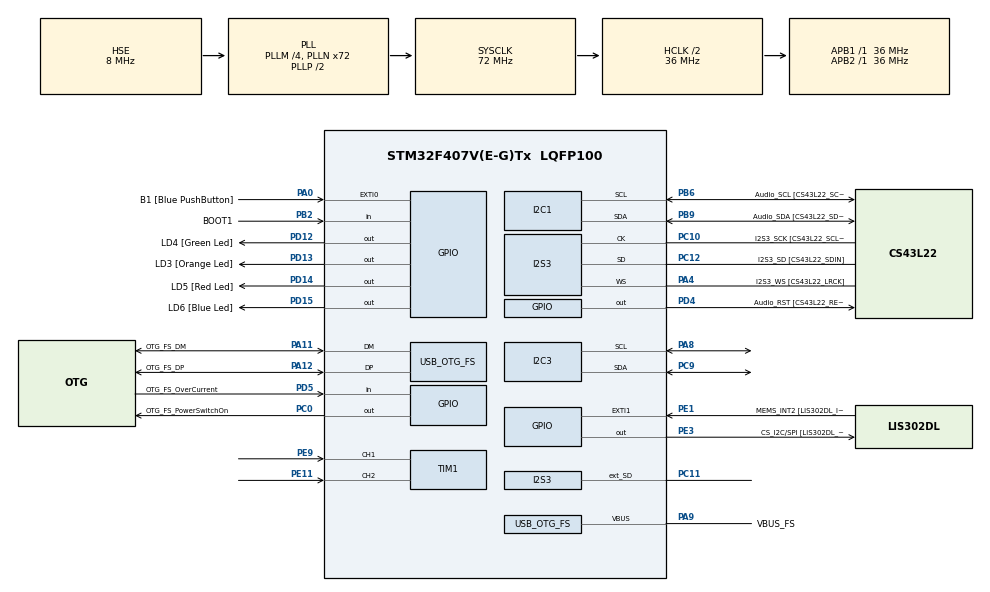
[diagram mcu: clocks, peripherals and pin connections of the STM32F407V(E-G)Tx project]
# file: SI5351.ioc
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I2S3.ErrorAudioFreq=0.15 %
I2S3.FullDuplexMode=I2S_FULLDUPLEXMODE_ENABLE
I2S3.Instance=SPI$Index
I2S3.RealAudioFreq=8.012 KHz
I2S3.VirtualMode=I2S_MODE_MASTER
Mcu.Family=STM32F4
Mcu.Name=STM32F407V(E-G)Tx
Mcu.Package=LQFP100
NVIC.PriorityGroup=NVIC_PRIORITYGROUP_0
PA0-WKUP.GPIO_Label=B1 [Blue PushButton]
PA0-WKUP.GPIO_ModeDefaultEXTI=GPIO_MODE_EVT_RISING
PA0-WKUP.GPIO_PuPd=GPIO_NOPULL
PA0-WKUP.Signal=GPXTI0
PA10.GPIO_Label=OTG_FS_ID
PA10.GPIO_Mode=GPIO_MODE_AF_PP
PA10.GPIO_PuPd=GPIO_NOPULL
PA10.GPIO_Speed=GPIO_SPEED_FREQ_LOW
PA10.Signal=USB_OTG_FS_ID
PA11.GPIO_Label=OTG_FS_DM
PA11.GPIO_Mode=GPIO_MODE_AF_PP
PA11.GPIO_PuPd=GPIO_NOPULL
PA11.GPIO_Speed=GPIO_SPEED_FREQ_LOW
PA11.Mode=Device_Only
PA11.Signal=USB_OTG_FS_DM
PA12.GPIO_Label=OTG_FS_DP
PA12.GPIO_Mode=GPIO_MODE_AF_PP
PA12.GPIO_PuPd=GPIO_NOPULL
PA12.GPIO_Speed=GPIO_SPEED_FREQ_LOW
PA12.Mode=Device_Only
PA12.Signal=USB_OTG_FS_DP
PA13.GPIO_Label=SWDIO
PA13.Signal=SYS_JTMS-SWDIO
PA14.GPIO_Label=SWCLK
PA14.Signal=SYS_JTCK-SWCLK
PA4.GPIO_Label=I2S3_WS [CS43L22_LRCK]
PA4.GPIO_Mode=GPIO_MODE_AF_PP
PA4.GPIO_PuPd=GPIO_NOPULL
PA4.GPIO_Speed=GPIO_SPEED_FREQ_LOW
PA4.Mode=Full_Duplex_Master
PA4.Signal=I2S3_WS
PA5.GPIO_Label=SPI1_SCK [LIS302DL_SCL/SPC]
PA5.GPIO_Mode=GPIO_MODE_AF_PP
PA5.GPIO_PuPd=GPIO_NOPULL
PA5.GPIO_Speed=GPIO_SPEED_FREQ_LOW
PA5.Signal=SPI1_SCK
PA6.GPIO_Label=SPI1_MISO [LIS302DL_SDO]
PA6.GPIO_Mode=GPIO_MODE_AF_PP
PA6.GPIO_PuPd=GPIO_NOPULL
PA6.GPIO_Speed=GPIO_SPEED_FREQ_LOW
PA6.Signal=SPI1_MISO
PA7.GPIO_Label=SPI1_MOSI [LIS302DL_SDA/SDI/SDO]
PA7.GPIO_Mode=GPIO_MODE_AF_PP
PA7.GPIO_PuPd=GPIO_NOPULL
PA7.GPIO_Speed=GPIO_SPEED_FREQ_LOW
PA7.Signal=SPI1_MOSI
PA8.Mode=I2C
PA8.Signal=I2C3_SCL
PA9.GPIO_Label=VBUS_FS
PA9.GPIO_Mode=GPIO_MODE_INPUT
PA9.GPIO_PuPd=GPIO_NOPULL
PA9.Mode=Activate_VBUS
PA9.Signal=USB_OTG_FS_VBUS
PB10.GPIO_Label=CLK_IN [MP45DT02_CLK]
PB10.GPIO_Mode=GPIO_MODE_AF_PP
PB10.GPIO_PuPd=GPIO_NOPULL
PB10.GPIO_Speed=GPIO_SPEED_FREQ_LOW
PB10.Signal=I2S2_CK
PB2.GPIO_Label=BOOT1
PB2.GPIO_Mode=GPIO_MODE_INPUT
PB2.GPIO_PuPd=GPIO_NOPULL
PB2.Signal=GPIO_Input
PB3.GPIO_Label=SWO
PB3.Signal=SYS_JTDO-SWO
PB6.GPIO_Label=Audio_SCL [CS43L22_SCL]
PB6.GPIO_Mode=GPIO_MODE_AF_OD
PB6.GPIO_Pu=GPIO_PULLUP
PB6.GPIO_PuPd=GPIO_NOPULL
PB6.GPIO_Speed=GPIO_SPEED_FREQ_LOW
PB6.Mode=I2C
PB6.Signal=I2C1_SCL
PB9.GPIO_Label=Audio_SDA [CS43L22_SDA]
PB9.GPIO_Mode=GPIO_MODE_AF_OD
PB9.GPIO_Pu=GPIO_PULLUP
PB9.GPIO_PuPd=GPIO_NOPULL
PB9.GPIO_Speed=GPIO_SPEED_FREQ_LOW
PB9.Mode=I2C
PB9.Signal=I2C1_SDA
PC0.GPIO_Label=OTG_FS_PowerSwitchOn
PC0.GPIO_PuPd=GPIO_NOPULL
PC0.GPIO_Speed=GPIO_SPEED_FREQ_LOW
PC0.PinState=GPIO_PIN_SET
PC0.Signal=GPIO_Output
PC10.GPIO_Label=I2S3_SCK [CS43L22_SCLK]
PC10.GPIO_Mode=GPIO_MODE_AF_PP
PC10.GPIO_PuPd=GPIO_NOPULL
PC10.GPIO_Speed=GPIO_SPEED_FREQ_LOW
PC10.Mode=Full_Duplex_Master
PC10.Signal=I2S3_CK
PC11.Mode=Full_Duplex_Master
PC11.Signal=I2S3_ext_SD
PC12.GPIO_Label=I2S3_SD [CS43L22_SDIN]
PC12.GPIO_Mode=GPIO_MODE_AF_PP
PC12.GPIO_PuPd=GPIO_NOPULL
PC12.GPIO_Speed=GPIO_SPEED_FREQ_LOW
PC12.Mode=Full_Duplex_Master
PC12.Signal=I2S3_SD
PC14-OSC32_IN.GPIO_Label=PC14-OSC32_IN
PC14-OSC32_IN.Signal=RCC_OSC32_IN
PC15-OSC32_OUT.GPIO_Label=PC15-OSC32_OUT
PC15-OSC32_OUT.Signal=RCC_OSC32_OUT
PC3.GPIO_Label=PDM_OUT [MP45DT02_DOUT]
PC3.GPIO_Mode=GPIO_MODE_AF_PP
PC3.GPIO_PuPd=GPIO_NOPULL
PC3.GPIO_Speed=GPIO_SPEED_FREQ_LOW
PC3.Signal=I2S2_SD
PC7.GPIO_Label=I2S3_MCK [CS43L22_MCLK]
PC7.GPIO_Mode=GPIO_MODE_AF_PP
PC7.GPIO_PuPd=GPIO_NOPULL
PC7.GPIO_Speed=GPIO_SPEED_FREQ_LOW
PC7.Signal=I2S3_MCK
PC9.Mode=I2C
PC9.Signal=I2C3_SDA
PD12.GPIO_Label=LD4 [Green Led]
PD12.GPIO_PuPd=GPIO_NOPULL
PD12.GPIO_Speed=GPIO_SPEED_FREQ_LOW
PD12.Signal=GPIO_Output
PD13.GPIO_Label=LD3 [Orange Led]
PD13.GPIO_PuPd=GPIO_NOPULL
PD13.GPIO_Speed=GPIO_SPEED_FREQ_LOW
PD13.Signal=GPIO_Output
PD14.GPIO_Label=LD5 [Red Led]
PD14.GPIO_PuPd=GPIO_NOPULL
PD14.GPIO_Speed=GPIO_SPEED_FREQ_LOW
PD14.Signal=GPIO_Output
PD15.GPIO_Label=LD6 [Blue Led]
PD15.GPIO_PuPd=GPIO_NOPULL
PD15.GPIO_Speed=GPIO_SPEED_FREQ_LOW
PD15.Signal=GPIO_Output
PD4.GPIO_Label=Audio_RST [CS43L22_RESET]
PD4.GPIO_PuPd=GPIO_NOPULL
PD4.GPIO_Speed=GPIO_SPEED_FREQ_LOW
PD4.Signal=GPIO_Output
PD5.GPIO_Label=OTG_FS_OverCurrent
PD5.GPIO_Mode=GPIO_MODE_INPUT
PD5.GPIO_PuPd=GPIO_NOPULL
PD5.Signal=GPIO_Input
PE1.GPIO_Label=MEMS_INT2 [LIS302DL_INT2]
PE1.GPIO_ModeDefaultEXTI=GPIO_MODE_EVT_RISING
PE1.GPIO_PuPd=GPIO_NOPULL
PE1.Signal=GPXTI1
PE11.GPIO_PuPd=GPIO_PULLUP
PE11.Signal=S_TIM1_CH2
PE3.GPIO_Label=CS_I2C/SPI [LIS302DL_CS_I2C/SPI]
PE3.GPIO_PuPd=GPIO_NOPULL
PE3.GPIO_Speed=GPIO_SPEED_FREQ_LOW
PE3.Signal=GPIO_Output
PE9.GPIO_PuPd=GPIO_PULLUP
PE9.Signal=S_TIM1_CH1
PH0-OSC_IN.GPIO_Label=PH0-OSC_IN
PH0-OSC_IN.Mode=HSE-External-Oscillator
PH0-OSC_IN.Signal=RCC_OSC_IN
PH1-OSC_OUT.GPIO_Label=PH1-OSC_OUT
PH1-OSC_OUT.Mode=HSE-External-Oscillator
PH1-OSC_OUT.Signal=RCC_OSC_OUT
ProjectManager.HeapSize=0x200
ProjectManager.StackSize=0x400
ProjectManager.TargetToolchain=STM32CubeIDE
RCC.48MHZClocksFreq_Value=48000000
RCC.AHBCLKDivider=RCC_SYSCLK_DIV2
RCC.AHBFreq_Value=36000000
RCC.APB1Freq_Value=36000000
RCC.APB1TimFreq_Value=36000000
RCC.APB2Freq_Value=36000000
RCC.APB2TimFreq_Value=36000000
RCC.CortexFreq_Value=36000000
RCC.HCLKFreq_Value=36000000
RCC.HSE_VALUE=8000000
RCC.HSI_VALUE=16000000
RCC.LSE_VALUE=32768
RCC.PLLI2SN=50
RCC.PLLM=4
RCC.PLLN=72
RCC.PLLQ=3
RCC.PLLSourceVirtual=RCC_PLLSOURCE_HSE
RCC.SYSCLKFreq_VALUE=72000000
RCC.SYSCLKSource=RCC_SYSCLKSOURCE_PLLCLK
RCC.VCOOutputFreq_Value=144000000
SH.S_TIM1_CH1.0=TIM1_CH1,Encoder_Interface
SH.S_TIM1_CH2.0=TIM1_CH2,Encoder_Interface
USB_OTG_FS.VirtualMode=Device_Only
board=STM32F407G-DISC1

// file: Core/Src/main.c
/* USER CODE BEGIN Header */
/**
 ******************************************************************************
 * @file           : main.c
 * @brief          : Main program body
 ******************************************************************************
 * @attention
 *
 * Copyright (c) 2022 STMicroelectronics.
 * All rights reserved.
 *
 * This software is licensed under terms that can be found in the LICENSE file
 * in the root directory of this software component.
 * If no LICENSE file comes with this software, it is provided AS-IS.
 *
 ******************************************************************************
 */
/* USER CODE END Header */
#include "main.h"

/* USER CODE BEGIN Includes */
#include "lcd.h"
#include "keypad.h"
#include <stdlib.h>
#include <stdio.h>

/* USER CODE END Includes */

I2C_HandleTypeDef hi2c1;
I2C_HandleTypeDef hi2c3;

I2S_HandleTypeDef hi2s3;

TIM_HandleTypeDef htim1;

PCD_HandleTypeDef hpcd_USB_OTG_FS;

void SystemClock_Config(void);
static void MX_GPIO_Init(void);
static void MX_I2C1_Init(void);
static void MX_I2S3_Init(void);
static void MX_I2C3_Init(void);
static void MX_TIM1_Init(void);
static void MX_USB_OTG_FS_PCD_Init(void);

int main(void) {

	/* MCU Configuration--------------------------------------------------------*/

	/* Reset of all peripherals, Initializes the Flash interface and the Systick. */
	HAL_Init();

	/* Configure the system clock */
	SystemClock_Config();

	/* Initialize all configured peripherals */
	MX_GPIO_Init();
	MX_I2C1_Init();
	MX_I2S3_Init();
	MX_I2C3_Init();
	MX_TIM1_Init();
	MX_USB_OTG_FS_PCD_Init();
	/* USER CODE BEGIN 2 */

	HAL_TIM_Encoder_Start(&htim1, TIM_CHANNEL_ALL);
	LCD_Init(LCD_ADDR);

	// set address to 0x00
	LCD_SendCommand(LCD_ADDR, 0b10000000);
	LCD_SendString(LCD_ADDR, " Using 1602 LCD");

	// set address to 0x40
	LCD_SendCommand(LCD_ADDR, 0b11000000);
	LCD_SendString(LCD_ADDR, "  over I2C bus");

	/* USER CODE END 2 */

	/* Infinite loop */
	/* USER CODE BEGIN WHILE */

	KEYPAD_setKeyMap( "123A456B789C*0#DNF");  // N = NoKey, F = Fail
	KEYPAD_Init();

	while (1) {
		int currCounter = __HAL_TIM_GET_COUNTER(&htim1);

		char buff[16];
		snprintf(buff, sizeof(buff), "%06d ", currCounter / 2);

		LCD_SetCursor(LCD_ADDR, 0, 0);
		LCD_SendString(LCD_ADDR, buff);

		snprintf(buff, sizeof(buff), "%c  %c  ", KEYPAD_getKeyChar(), KEYPAD_getLastKeyChar());

		LCD_SetCursor(LCD_ADDR, 0, 1);
		LCD_SendString(LCD_ADDR, buff);

		/* USER CODE END WHILE */

	}
}

void SystemClock_Config(void) {
	RCC_OscInitTypeDef RCC_OscInitStruct = { 0 };
	RCC_ClkInitTypeDef RCC_ClkInitStruct = { 0 };

	/** Configure the main internal regulator output voltage
	 */
	__HAL_RCC_PWR_CLK_ENABLE();
	__HAL_PWR_VOLTAGESCALING_CONFIG(PWR_REGULATOR_VOLTAGE_SCALE1);

	/** Initializes the RCC Oscillators according to the specified parameters
	 * in the RCC_OscInitTypeDef structure.
	 */
	RCC_OscInitStruct.OscillatorType = RCC_OSCILLATORTYPE_HSE;
	RCC_OscInitStruct.HSEState = RCC_HSE_ON;
	RCC_OscInitStruct.PLL.PLLState = RCC_PLL_ON;
	RCC_OscInitStruct.PLL.PLLSource = RCC_PLLSOURCE_HSE;
	RCC_OscInitStruct.PLL.PLLM = 4;
	RCC_OscInitStruct.PLL.PLLN = 72;
	RCC_OscInitStruct.PLL.PLLP = RCC_PLLP_DIV2;
	RCC_OscInitStruct.PLL.PLLQ = 3;
	if (HAL_RCC_OscConfig(&RCC_OscInitStruct) != HAL_OK) {
		Error_Handler();
	}

	/** Initializes the CPU, AHB and APB buses clocks
	 */
	RCC_ClkInitStruct.ClockType = RCC_CLOCKTYPE_HCLK | RCC_CLOCKTYPE_SYSCLK
			| RCC_CLOCKTYPE_PCLK1 | RCC_CLOCKTYPE_PCLK2;
	RCC_ClkInitStruct.SYSCLKSource = RCC_SYSCLKSOURCE_PLLCLK;
	RCC_ClkInitStruct.AHBCLKDivider = RCC_SYSCLK_DIV2;
	RCC_ClkInitStruct.APB1CLKDivider = RCC_HCLK_DIV1;
	RCC_ClkInitStruct.APB2CLKDivider = RCC_HCLK_DIV1;

	if (HAL_RCC_ClockConfig(&RCC_ClkInitStruct, FLASH_LATENCY_1) != HAL_OK) {
		Error_Handler();
	}
}

static void MX_I2C1_Init(void) {

	hi2c1.Instance = I2C1;
	hi2c1.Init.ClockSpeed = 100000;
	hi2c1.Init.DutyCycle = I2C_DUTYCYCLE_2;
	hi2c1.Init.OwnAddress1 = 0;
	hi2c1.Init.AddressingMode = I2C_ADDRESSINGMODE_7BIT;
	hi2c1.Init.DualAddressMode = I2C_DUALADDRESS_DISABLE;
	hi2c1.Init.OwnAddress2 = 0;
	hi2c1.Init.GeneralCallMode = I2C_GENERALCALL_DISABLE;
	hi2c1.Init.NoStretchMode = I2C_NOSTRETCH_DISABLE;
	if (HAL_I2C_Init(&hi2c1) != HAL_OK) {
		Error_Handler();
	}

}

static void MX_I2C3_Init(void) {

	hi2c3.Instance = I2C3;
	hi2c3.Init.ClockSpeed = 100000;
	hi2c3.Init.DutyCycle = I2C_DUTYCYCLE_2;
	hi2c3.Init.OwnAddress1 = 0;
	hi2c3.Init.AddressingMode = I2C_ADDRESSINGMODE_7BIT;
	hi2c3.Init.DualAddressMode = I2C_DUALADDRESS_DISABLE;
	hi2c3.Init.OwnAddress2 = 0;
	hi2c3.Init.GeneralCallMode = I2C_GENERALCALL_DISABLE;
	hi2c3.Init.NoStretchMode = I2C_NOSTRETCH_DISABLE;
	if (HAL_I2C_Init(&hi2c3) != HAL_OK) {
		Error_Handler();
	}

}

static void MX_I2S3_Init(void) {

	hi2s3.Instance = SPI3;
	hi2s3.Init.Mode = I2S_MODE_MASTER_TX;
	hi2s3.Init.Standard = I2S_STANDARD_PHILIPS;
	hi2s3.Init.DataFormat = I2S_DATAFORMAT_16B;
	hi2s3.Init.MCLKOutput = I2S_MCLKOUTPUT_DISABLE;
	hi2s3.Init.AudioFreq = I2S_AUDIOFREQ_8K;
	hi2s3.Init.CPOL = I2S_CPOL_LOW;
	hi2s3.Init.ClockSource = I2S_CLOCK_PLL;
	hi2s3.Init.FullDuplexMode = I2S_FULLDUPLEXMODE_ENABLE;
	if (HAL_I2S_Init(&hi2s3) != HAL_OK) {
		Error_Handler();
	}

}

static void MX_TIM1_Init(void) {

	TIM_Encoder_InitTypeDef sConfig = { 0 };
	TIM_MasterConfigTypeDef sMasterConfig = { 0 };

	htim1.Instance = TIM1;
	htim1.Init.Prescaler = 0;
	htim1.Init.CounterMode = TIM_COUNTERMODE_UP;
	htim1.Init.Period = 65535;
	htim1.Init.ClockDivision = TIM_CLOCKDIVISION_DIV1;
	htim1.Init.RepetitionCounter = 0;
	htim1.Init.AutoReloadPreload = TIM_AUTORELOAD_PRELOAD_DISABLE;
	sConfig.EncoderMode = TIM_ENCODERMODE_TI1;
	sConfig.IC1Polarity = TIM_ICPOLARITY_RISING;
	sConfig.IC1Selection = TIM_ICSELECTION_DIRECTTI;
	sConfig.IC1Prescaler = TIM_ICPSC_DIV1;
	sConfig.IC1Filter = 0;
	sConfig.IC2Polarity = TIM_ICPOLARITY_RISING;
	sConfig.IC2Selection = TIM_ICSELECTION_DIRECTTI;
	sConfig.IC2Prescaler = TIM_ICPSC_DIV1;
	sConfig.IC2Filter = 0;
	if (HAL_TIM_Encoder_Init(&htim1, &sConfig) != HAL_OK) {
		Error_Handler();
	}
	sMasterConfig.MasterOutputTrigger = TIM_TRGO_RESET;
	sMasterConfig.MasterSlaveMode = TIM_MASTERSLAVEMODE_DISABLE;
	if (HAL_TIMEx_MasterConfigSynchronization(&htim1, &sMasterConfig)
			!= HAL_OK) {
		Error_Handler();
	}

}

static void MX_USB_OTG_FS_PCD_Init(void) {

	hpcd_USB_OTG_FS.Instance = USB_OTG_FS;
	hpcd_USB_OTG_FS.Init.dev_endpoints = 4;
	hpcd_USB_OTG_FS.Init.speed = PCD_SPEED_FULL;
	hpcd_USB_OTG_FS.Init.dma_enable = DISABLE;
	hpcd_USB_OTG_FS.Init.phy_itface = PCD_PHY_EMBEDDED;
	hpcd_USB_OTG_FS.Init.Sof_enable = DISABLE;
	hpcd_USB_OTG_FS.Init.low_power_enable = DISABLE;
	hpcd_USB_OTG_FS.Init.lpm_enable = DISABLE;
	hpcd_USB_OTG_FS.Init.vbus_sensing_enable = ENABLE;
	hpcd_USB_OTG_FS.Init.use_dedicated_ep1 = DISABLE;
	if (HAL_PCD_Init(&hpcd_USB_OTG_FS) != HAL_OK) {
		Error_Handler();
	}

}

static void MX_GPIO_Init(void) {
	GPIO_InitTypeDef GPIO_InitStruct = { 0 };

	/* GPIO Ports Clock Enable */
	__HAL_RCC_GPIOE_CLK_ENABLE();
	__HAL_RCC_GPIOC_CLK_ENABLE();
	__HAL_RCC_GPIOH_CLK_ENABLE();
	__HAL_RCC_GPIOA_CLK_ENABLE();
	__HAL_RCC_GPIOB_CLK_ENABLE();
	__HAL_RCC_GPIOD_CLK_ENABLE();

	/*Configure GPIO pin Output Level */
	HAL_GPIO_WritePin(CS_I2C_SPI_GPIO_Port, CS_I2C_SPI_Pin, GPIO_PIN_RESET);

	/*Configure GPIO pin Output Level */
	HAL_GPIO_WritePin(OTG_FS_PowerSwitchOn_GPIO_Port, OTG_FS_PowerSwitchOn_Pin,
			GPIO_PIN_SET);

	/*Configure GPIO pin Output Level */
	HAL_GPIO_WritePin(GPIOD,
	LD4_Pin | LD3_Pin | LD5_Pin | LD6_Pin | Audio_RST_Pin, GPIO_PIN_RESET);

	/*Configure GPIO pin : CS_I2C_SPI_Pin */
	GPIO_InitStruct.Pin = CS_I2C_SPI_Pin;
	GPIO_InitStruct.Mode = GPIO_MODE_OUTPUT_PP;
	GPIO_InitStruct.Pull = GPIO_NOPULL;
	GPIO_InitStruct.Speed = GPIO_SPEED_FREQ_LOW;
	HAL_GPIO_Init(CS_I2C_SPI_GPIO_Port, &GPIO_InitStruct);

	/*Configure GPIO pin : OTG_FS_PowerSwitchOn_Pin */
	GPIO_InitStruct.Pin = OTG_FS_PowerSwitchOn_Pin;
	GPIO_InitStruct.Mode = GPIO_MODE_OUTPUT_PP;
	GPIO_InitStruct.Pull = GPIO_NOPULL;
	GPIO_InitStruct.Speed = GPIO_SPEED_FREQ_LOW;
	HAL_GPIO_Init(OTG_FS_PowerSwitchOn_GPIO_Port, &GPIO_InitStruct);

	/*Configure GPIO pin : PDM_OUT_Pin */
	GPIO_InitStruct.Pin = PDM_OUT_Pin;
	GPIO_InitStruct.Mode = GPIO_MODE_AF_PP;
	GPIO_InitStruct.Pull = GPIO_NOPULL;
	GPIO_InitStruct.Speed = GPIO_SPEED_FREQ_LOW;
	GPIO_InitStruct.Alternate = GPIO_AF5_SPI2;
	HAL_GPIO_Init(PDM_OUT_GPIO_Port, &GPIO_InitStruct);

	/*Configure GPIO pin : B1_Pin */
	GPIO_InitStruct.Pin = B1_Pin;
	GPIO_InitStruct.Mode = GPIO_MODE_EVT_RISING;
	GPIO_InitStruct.Pull = GPIO_NOPULL;
	HAL_GPIO_Init(B1_GPIO_Port, &GPIO_InitStruct);

	/*Configure GPIO pins : SPI1_SCK_Pin SPI1_MISO_Pin SPI1_MOSI_Pin */
	GPIO_InitStruct.Pin = SPI1_SCK_Pin | SPI1_MISO_Pin | SPI1_MOSI_Pin;
	GPIO_InitStruct.Mode = GPIO_MODE_AF_PP;
	GPIO_InitStruct.Pull = GPIO_NOPULL;
	GPIO_InitStruct.Speed = GPIO_SPEED_FREQ_LOW;
	GPIO_InitStruct.Alternate = GPIO_AF5_SPI1;
	HAL_GPIO_Init(GPIOA, &GPIO_InitStruct);

	/*Configure GPIO pin : BOOT1_Pin */
	GPIO_InitStruct.Pin = BOOT1_Pin;
	GPIO_InitStruct.Mode = GPIO_MODE_INPUT;
	GPIO_InitStruct.Pull = GPIO_NOPULL;
	HAL_GPIO_Init(BOOT1_GPIO_Port, &GPIO_InitStruct);

	/*Configure GPIO pin : CLK_IN_Pin */
	GPIO_InitStruct.Pin = CLK_IN_Pin;
	GPIO_InitStruct.Mode = GPIO_MODE_AF_PP;
	GPIO_InitStruct.Pull = GPIO_NOPULL;
	GPIO_InitStruct.Speed = GPIO_SPEED_FREQ_LOW;
	GPIO_InitStruct.Alternate = GPIO_AF5_SPI2;
	HAL_GPIO_Init(CLK_IN_GPIO_Port, &GPIO_InitStruct);

	/*Configure GPIO pins : LD4_Pin LD3_Pin LD5_Pin LD6_Pin
	 Audio_RST_Pin */
	GPIO_InitStruct.Pin = LD4_Pin | LD3_Pin | LD5_Pin | LD6_Pin | Audio_RST_Pin;
	GPIO_InitStruct.Mode = GPIO_MODE_OUTPUT_PP;
	GPIO_InitStruct.Pull = GPIO_NOPULL;
	GPIO_InitStruct.Speed = GPIO_SPEED_FREQ_LOW;
	HAL_GPIO_Init(GPIOD, &GPIO_InitStruct);

	/*Configure GPIO pin : OTG_FS_OverCurrent_Pin */
	GPIO_InitStruct.Pin = OTG_FS_OverCurrent_Pin;
	GPIO_InitStruct.Mode = GPIO_MODE_INPUT;
	GPIO_InitStruct.Pull = GPIO_NOPULL;
	HAL_GPIO_Init(OTG_FS_OverCurrent_GPIO_Port, &GPIO_InitStruct);

	/*Configure GPIO pin : MEMS_INT2_Pin */
	GPIO_InitStruct.Pin = MEMS_INT2_Pin;
	GPIO_InitStruct.Mode = GPIO_MODE_EVT_RISING;
	GPIO_InitStruct.Pull = GPIO_NOPULL;
	HAL_GPIO_Init(MEMS_INT2_GPIO_Port, &GPIO_InitStruct);

}

void Error_Handler(void) {
	__disable_irq();
	while (1) {
	}
}
